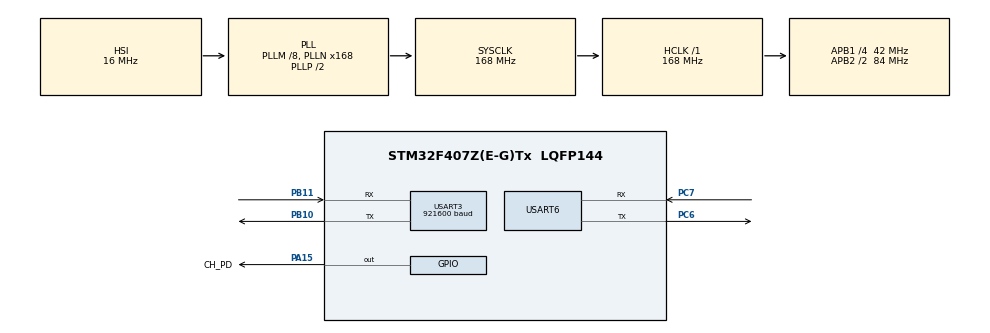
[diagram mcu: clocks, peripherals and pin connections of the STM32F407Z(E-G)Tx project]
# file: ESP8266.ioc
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Dma.Request0=USART6_RX
Dma.USART6_RX.0.Direction=DMA_PERIPH_TO_MEMORY
Dma.USART6_RX.0.FIFOMode=DMA_FIFOMODE_DISABLE
Dma.USART6_RX.0.Instance=DMA2_Stream1
Dma.USART6_RX.0.MemDataAlignment=DMA_MDATAALIGN_BYTE
Dma.USART6_RX.0.MemInc=DMA_MINC_ENABLE
Dma.USART6_RX.0.Mode=DMA_CIRCULAR
Dma.USART6_RX.0.PeriphDataAlignment=DMA_PDATAALIGN_BYTE
Dma.USART6_RX.0.PeriphInc=DMA_PINC_DISABLE
Dma.USART6_RX.0.Priority=DMA_PRIORITY_LOW
Mcu.Family=STM32F4
Mcu.Name=STM32F407Z(E-G)Tx
Mcu.Package=LQFP144
NVIC.PriorityGroup=NVIC_PRIORITYGROUP_4
NVIC.USART6_IRQn=true\:0\:0\:false\:false\:true\:true\:true\:true
PA13.Mode=Serial_Wire
PA13.Signal=SYS_JTMS-SWDIO
PA14.Mode=Serial_Wire
PA14.Signal=SYS_JTCK-SWCLK
PA15.GPIO_Label=CH_PD
PA15.GPIO_PuPd=GPIO_PULLUP
PA15.GPIO_Speed=GPIO_SPEED_FREQ_HIGH
PA15.Signal=GPIO_Output
PB10.Mode=Asynchronous
PB10.Signal=USART3_TX
PB11.Mode=Asynchronous
PB11.Signal=USART3_RX
PC14-OSC32_IN.Mode=LSE-External-Oscillator
PC14-OSC32_IN.Signal=RCC_OSC32_IN
PC15-OSC32_OUT.Mode=LSE-External-Oscillator
PC15-OSC32_OUT.Signal=RCC_OSC32_OUT
PC6.Mode=Asynchronous
PC6.Signal=USART6_TX
PC7.Mode=Asynchronous
PC7.Signal=USART6_RX
PH0-OSC_IN.Mode=HSE-External-Oscillator
PH0-OSC_IN.Signal=RCC_OSC_IN
PH1-OSC_OUT.Mode=HSE-External-Oscillator
PH1-OSC_OUT.Signal=RCC_OSC_OUT
ProjectManager.HeapSize=0x200
ProjectManager.StackSize=0x800
ProjectManager.TargetToolchain=STM32CubeIDE
RCC.48MHZClocksFreq_Value=84000000
RCC.AHBFreq_Value=168000000
RCC.APB1CLKDivider=RCC_HCLK_DIV4
RCC.APB1Freq_Value=42000000
RCC.APB1TimFreq_Value=84000000
RCC.APB2CLKDivider=RCC_HCLK_DIV2
RCC.APB2Freq_Value=84000000
RCC.APB2TimFreq_Value=168000000
RCC.CortexFreq_Value=168000000
RCC.HCLKFreq_Value=168000000
RCC.HSE_VALUE=8000000
RCC.HSI_VALUE=16000000
RCC.PLLM=8
RCC.PLLN=168
RCC.SYSCLKFreq_VALUE=168000000
RCC.SYSCLKSource=RCC_SYSCLKSOURCE_PLLCLK
RCC.VCOOutputFreq_Value=336000000
USART3.BaudRate=921600
USART3.VirtualMode=VM_ASYNC
USART6.VirtualMode=VM_ASYNC
VP_TIM6_VS_ClockSourceINT.Mode=Enable_Timer
VP_TIM6_VS_OPM.Mode=OPM_bit
board=custom

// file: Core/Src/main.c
/* USER CODE BEGIN Header */
/**
  ******************************************************************************
  * @file           : main.c
  * @brief          : Main program body
  ******************************************************************************
  * @attention
  *
  * Copyright (c) 2022 STMicroelectronics.
  * All rights reserved.
  *
  * This software is licensed under terms that can be found in the LICENSE file
  * in the root directory of this software component.
  * If no LICENSE file comes with this software, it is provided AS-IS.
  *
  ******************************************************************************
  */
/* USER CODE END Header */
#include "main.h"
#include "dma.h"
#include "tim.h"
#include "usart.h"
#include "gpio.h"

/* USER CODE BEGIN Includes */
#include "ESP8266.h"
#include "stdio.h"
/* USER CODE END Includes */

void SystemClock_Config(void);

int main(void)
{

  /* MCU Configuration--------------------------------------------------------*/

  /* Reset of all peripherals, Initializes the Flash interface and the Systick. */
  HAL_Init();

  /* Configure the system clock */
  SystemClock_Config();

  /* Initialize all configured peripherals */
  MX_GPIO_Init();
  MX_DMA_Init();
  MX_USART6_UART_Init();
  MX_TIM6_Init();
  MX_USART3_UART_Init();
  /* USER CODE BEGIN 2 */
  char buf[128];

  init();

//  sendCmd("ATE0"    , "OK" , 100);  			//关闭回显
//  sendCmd("AT+CWMODE_DEF=3","OK",1500);			//设置ESP8266为AP模式
//
//  //设置模块的AP模式
//  sprintf(buf,"AT+CWSAP=\"%s\",\"%s\",%s,%s","ATK_ESP8266","12345678","10","4");
//  sendCmd(buf,"OK",2000);
//
//  /* 设置模块AP当前IP地址 */
//  sprintf(buf,"AT+CIPAP_CUR=\"%s\",\"%s\",\"%s\"", "192.168.0.233","192.168.5.1","255.255.255.0");
//  sendCmd(buf, "OK", 1500);
//
//  //创建多连接
//  sendCmd("AT+CIPMUX=1","OK",1000);
//
//  //创建模块TCP服务器
//  //创建TCP服务器之后，会自动启动TCP服务监听，当有TCP客户端连接时，会有CONNECT提示
//  sprintf(buf,"AT+CIPSERVER=%s,%s","1","1001");
//  sendCmd(buf,"OK",2000);

  	while(sendCmd("AT", "OK", 100) == Timeout){
  		quitTrans(); //退出透传
  	}

  	sendCmd("ATE0"    , "OK" , 100);  //关闭回显
  	sendCmd("AT+CWMODE_DEF=1","OK",1500);			//设置ESP8266为STA模式
  	//	sendCmd("AT+CWLAP", "OK" , 5000); //显示可加入的AP

  	/* 加入wifi */
  	sprintf(buf,"AT+CWJAP=\"%s\",\"%s\"","ATK_ESP8266","12345678");
  	sendCmd(buf, "WIFI GOT IP", 15000); //加入AP
  	send((char*)"", "OK"         , 2000); //加入AP

  	/* 设置IP */
  	sprintf(buf,"AT+CIPSTA=\"%s\"", "192.168.0.133");
  	sendCmd(buf, "OK", 15000);

  	/* 与PC机建立连接 */
  	sprintf(buf,"AT+CIPSTART=\"%s\",\"%s\",%s", "TCP", "192.168.0.233", "1001");
  //	sprintf(buf,"AT+CIPSTART=\"%s\",\"%s\",%s", "TCP", "192.168.43.66", "8087");
  	sendCmd(buf, "OK", 15000);

  	/* 进入透传模式 */
//  	sendCmd("AT+CIPMODE=1", "OK", 200); //开启透传模式
//  	sendCmd("AT+CIPSEND"  , ">", 100); //进入透传

//  //发送消息
//  while(1){
//	  static int num=0;
//	  sprintf(buf,"%4d\r\n",num++);
//
//	  sendMessage(buf,"0","6");
//	  sendMessage(buf,"1","6");
//	  sendMessage(buf,"2","6");
//  }

  /* USER CODE END 2 */

  /* Infinite loop */
  while (1)
  {

  }
}

void SystemClock_Config(void)
{
  RCC_OscInitTypeDef RCC_OscInitStruct = {0};
  RCC_ClkInitTypeDef RCC_ClkInitStruct = {0};

  /** Configure the main internal regulator output voltage
  */
  __HAL_RCC_PWR_CLK_ENABLE();
  __HAL_PWR_VOLTAGESCALING_CONFIG(PWR_REGULATOR_VOLTAGE_SCALE1);

  /** Initializes the RCC Oscillators according to the specified parameters
  * in the RCC_OscInitTypeDef structure.
  */
  RCC_OscInitStruct.OscillatorType = RCC_OSCILLATORTYPE_HSI;
  RCC_OscInitStruct.HSIState = RCC_HSI_ON;
  RCC_OscInitStruct.HSICalibrationValue = RCC_HSICALIBRATION_DEFAULT;
  RCC_OscInitStruct.PLL.PLLState = RCC_PLL_ON;
  RCC_OscInitStruct.PLL.PLLSource = RCC_PLLSOURCE_HSI;
  RCC_OscInitStruct.PLL.PLLM = 8;
  RCC_OscInitStruct.PLL.PLLN = 168;
  RCC_OscInitStruct.PLL.PLLP = RCC_PLLP_DIV2;
  RCC_OscInitStruct.PLL.PLLQ = 4;
  if (HAL_RCC_OscConfig(&RCC_OscInitStruct) != HAL_OK)
  {
    Error_Handler();
  }

  /** Initializes the CPU, AHB and APB buses clocks
  */
  RCC_ClkInitStruct.ClockType = RCC_CLOCKTYPE_HCLK|RCC_CLOCKTYPE_SYSCLK
                              |RCC_CLOCKTYPE_PCLK1|RCC_CLOCKTYPE_PCLK2;
  RCC_ClkInitStruct.SYSCLKSource = RCC_SYSCLKSOURCE_PLLCLK;
  RCC_ClkInitStruct.AHBCLKDivider = RCC_SYSCLK_DIV1;
  RCC_ClkInitStruct.APB1CLKDivider = RCC_HCLK_DIV4;
  RCC_ClkInitStruct.APB2CLKDivider = RCC_HCLK_DIV2;

  if (HAL_RCC_ClockConfig(&RCC_ClkInitStruct, FLASH_LATENCY_5) != HAL_OK)
  {
    Error_Handler();
  }
}

void Error_Handler(void)
{
  __disable_irq();
  while (1)
  {
  }
}
